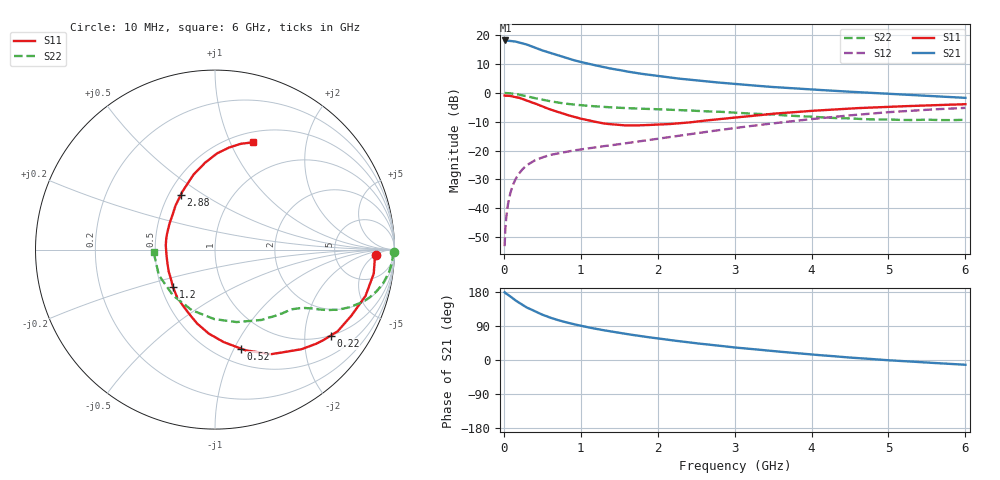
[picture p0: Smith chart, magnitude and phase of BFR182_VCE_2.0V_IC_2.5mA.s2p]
! Infineon Technologies  Discrete & RF Semiconductors
! BFR182
! VCE =  2.0 V,  IC =  2.5 mA
! Common Emitter S-Parameters:  Nov 2015
# GHz  S  MA  R  50
!  f  S11  S21  S12  S22
! GHz  MAG  ANG  MAG  ANG  MAG  ANG  MAG  ANG
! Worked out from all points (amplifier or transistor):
!   210 points, 10 MHz to 6 GHz, reference 50 ohm
!   highest |S21| = 18.2 dB at 20 MHz (marker M1)
!   |S21| within 3 dB of that: start of sweep to 455.8 MHz
!   unconditionally stable (mu >= 1): 1.352 GHz to 3.055 GHz
!   at 185 MHz: K = 0.21, MSG = 23.0 dB, |S12| = -28.5 dB
!   at 1.52 GHz: K = 1.04, MAG = 11.5 dB, |S12| = -17.7 dB
!   at 6 GHz: K = 0.90, MSG = 1.7 dB, |S12| = -5.2 dB
!   S11 on the Smith chart (normalised r, x): 10 MHz: 17, -5; 220 MHz: 1.00, -2.69; 520 MHz: 0.65, -1.06; 1.2 GHz: 0.58, -0.26; 2.88 GHz: 0.58, +0.40; 6 GHz: 0.61, +1.23
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0.01  0.8966 -1.9  8.022 178.7  0.0022 86.0  0.9949 -0.8
0.02  0.8916 -3.4  8.095 176.9  0.0045 84.6  0.9914 -1.6
0.04  0.8928 -6.9  8.059 174.0  0.0087 84.7  0.9901 -3.1
0.07  0.8854 -12.0  7.973 169.8  0.0151 82.0  0.9842 -5.4
0.15  0.8441 -25.9  7.769 157.3  0.0315 75.2  0.9549 -11.4
0.22  0.8028 -36.7  7.325 148.5  0.0435 69.7  0.9188 -15.5
0.3  0.7346 -49.1  6.869 138.3  0.0558 64.9  0.8703 -19.7
0.4  0.6607 -61.9  6.139 128.9  0.0671 59.6  0.8118 -23.4
0.52  0.5697 -75.4  5.338 118.2  0.0775 55.4  0.7525 -26.5
0.6  0.5173 -84.7  4.964 112.0  0.0838 53.6  0.7174 -28.0
0.7  0.4689 -94.3  4.508 105.5  0.089 52.2  0.6795 -29.5
0.78  0.4317 -101.6  4.157 101.0  0.0933 51.3  0.6566 -30.3
0.9  0.3882 -111.4  3.704 94.8  0.0999 50.7  0.6287 -31.4
1.02  0.3522 -122.4  3.382 89.6  0.1054 50.6  0.608 -32.5
1.2  0.3129 -138.7  2.983 82.0  0.114 51.2  0.5822 -34.1
1.6  0.2728 -170.5  2.347 68.3  0.1347 53.7  0.5434 -37.7
2.02  0.2815 161.5  1.944 56.4  0.162 55.5  0.5184 -43.0
2.88  0.3585 122.3  1.474 35.9  0.2335 55.4  0.4641 -57.8
3.1  0.3831 116.0  1.392 31.3  0.2551 54.2  0.4457 -62.9
4.1  0.4964 94.8  1.124 12.9  0.362 46.1  0.3784 -94.4
5.1  0.5799 81.0  0.949 -1.8  0.4717 33.5  0.3413 -137.0
6  0.6356 70.3  0.819 -12.6  0.5488 19.6  0.3421 -177.5
